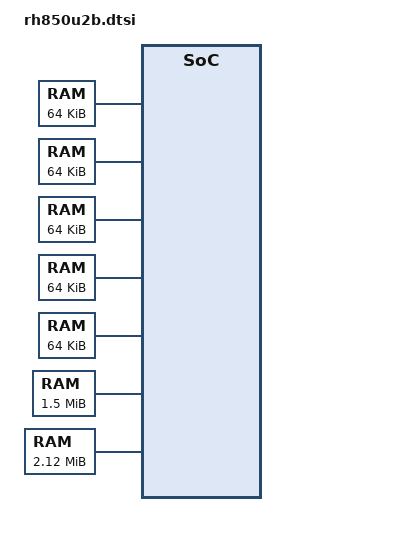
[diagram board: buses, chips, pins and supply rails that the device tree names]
/*
 * SPDX-FileCopyrightText: Copyright (c) 2026 Linumiz
 *
 * SPDX-License-Identifier: Apache-2.0
 */

#include <renesas/g4mh.dtsi>

/ {
	soc {
		rlin30: serial@ffc7c000 {
			compatible = "renesas,rh850-rlin3-uart";
			reg = <0xffc7c000 0x40>;
			interrupts = <620 15>, <621 15>, <622 15>, <623 15>;
			interrupt-names = "lin", "tx", "rx", "err";
			status = "disabled";
		};
	};
};

/* PCLK = CLKC_HSB */
&ostm0 {
	interrupts = <360 1>;
	clock-frequency = <DT_FREQ_M(80)>;
};

/* RAM of the U2B24, the largest U2B */

/* Local RAM CPU0 */
&lram0 {
	reg = <0xfdc00000 DT_SIZE_K(64)>;
};

/ {
	/* Local RAM CPU5 */
	lram5: memory@fd200000 {
		compatible = "zephyr,memory-region", "mmio-sram";
		reg = <0xfd200000 DT_SIZE_K(64)>;
		zephyr,memory-region = "LRAM5";
	};

	/* Local RAM CPU4 */
	lram4: memory@fd400000 {
		compatible = "zephyr,memory-region", "mmio-sram";
		reg = <0xfd400000 DT_SIZE_K(64)>;
		zephyr,memory-region = "LRAM4";
	};

	/* Local RAM CPU3 */
	lram3: memory@fd600000 {
		compatible = "zephyr,memory-region", "mmio-sram";
		reg = <0xfd600000 DT_SIZE_K(64)>;
		zephyr,memory-region = "LRAM3";
	};

	/* Local RAM CPU2 */
	lram2: memory@fd800000 {
		compatible = "zephyr,memory-region", "mmio-sram";
		reg = <0xfd800000 DT_SIZE_K(64)>;
		zephyr,memory-region = "LRAM2";
	};

	/* Local RAM CPU1 */
	lram1: memory@fda00000 {
		compatible = "zephyr,memory-region", "mmio-sram";
		reg = <0xfda00000 DT_SIZE_K(64)>;
		zephyr,memory-region = "LRAM1";
	};

	/* Cluster RAM 0-2 */
	cram0: memory@fe000000 {
		compatible = "zephyr,memory-region", "mmio-sram";
		reg = <0xfe000000 DT_SIZE_K(1536)>;
		zephyr,memory-region = "CRAM0";
	};

	/* Extended cluster RAM */
	ecram0: memory@fe800000 {
		compatible = "zephyr,memory-region", "mmio-sram";
		reg = <0xfe800000 0x220000>;
		zephyr,memory-region = "ECRAM0";
	};
};
